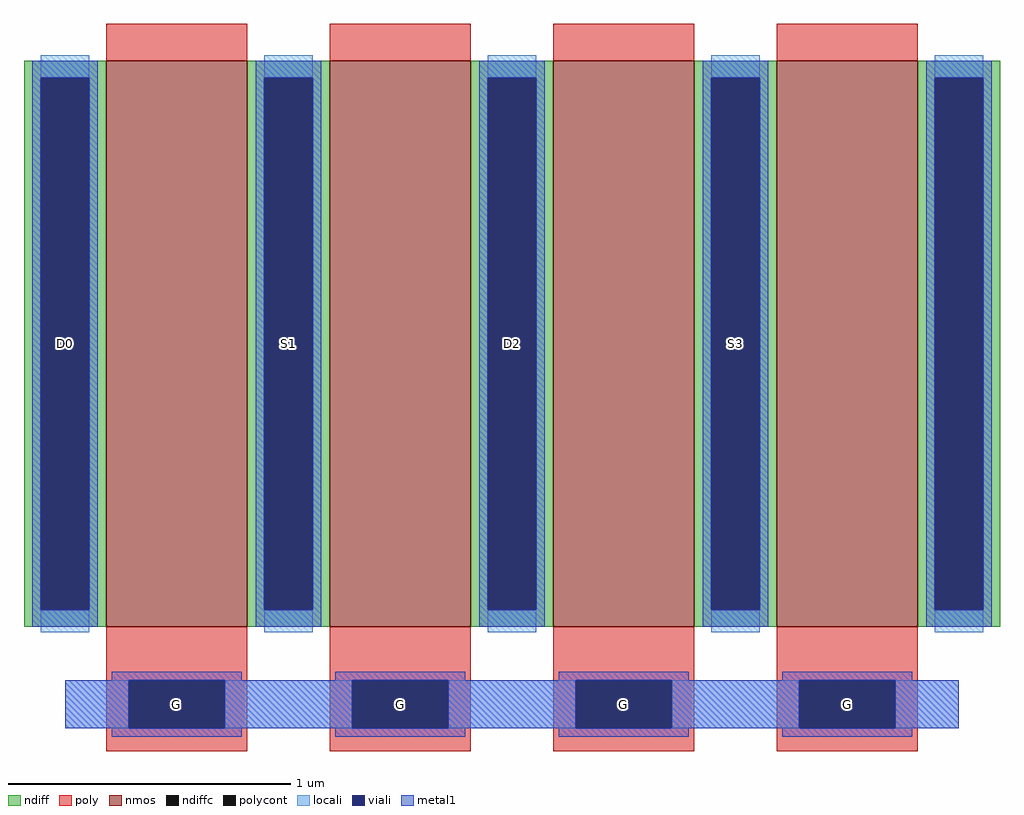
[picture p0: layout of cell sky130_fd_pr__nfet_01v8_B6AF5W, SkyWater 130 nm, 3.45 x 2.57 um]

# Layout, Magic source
magic
tech sky130A
magscale 1 2
<< nmos >>
rect -287 -169 -187 231
rect -129 -169 -29 231
rect 29 -169 129 231
rect 187 -169 287 231
<< ndiff >>
rect -345 219 -287 231
rect -345 -157 -333 219
rect -299 -157 -287 219
rect -345 -169 -287 -157
rect -187 219 -129 231
rect -187 -157 -175 219
rect -141 -157 -129 219
rect -187 -169 -129 -157
rect -29 219 29 231
rect -29 -157 -17 219
rect 17 -157 29 219
rect -29 -169 29 -157
rect 129 219 187 231
rect 129 -157 141 219
rect 175 -157 187 219
rect 129 -169 187 -157
rect 287 219 345 231
rect 287 -157 299 219
rect 333 -157 345 219
rect 287 -169 345 -157
<< ndiffc >>
rect -333 -157 -299 219
rect -175 -157 -141 219
rect -17 -157 17 219
rect 141 -157 175 219
rect 299 -157 333 219
<< poly >>
rect -287 231 -187 257
rect -129 231 -29 257
rect 29 231 129 257
rect 187 231 287 257
rect -287 -207 -187 -169
rect -287 -241 -271 -207
rect -203 -241 -187 -207
rect -287 -257 -187 -241
rect -129 -207 -29 -169
rect -129 -241 -113 -207
rect -45 -241 -29 -207
rect -129 -257 -29 -241
rect 29 -207 129 -169
rect 29 -241 45 -207
rect 113 -241 129 -207
rect 29 -257 129 -241
rect 187 -207 287 -169
rect 187 -241 203 -207
rect 271 -241 287 -207
rect 187 -257 287 -241
<< polycont >>
rect -271 -241 -203 -207
rect -113 -241 -45 -207
rect 45 -241 113 -207
rect 203 -241 271 -207
<< locali >>
rect -333 219 -299 235
rect -333 -173 -299 -157
rect -175 219 -141 235
rect -175 -173 -141 -157
rect -17 219 17 235
rect -17 -173 17 -157
rect 141 219 175 235
rect 141 -173 175 -157
rect 299 219 333 235
rect 299 -173 333 -157
rect -316 -241 -271 -207
rect -203 -241 -113 -207
rect -45 -241 45 -207
rect 113 -241 203 -207
rect 271 -241 316 -207
<< viali >>
rect -333 -157 -299 219
rect -175 -157 -141 219
rect -17 -157 17 219
rect 141 -157 175 219
rect 299 -157 333 219
rect -271 -241 -203 -207
rect -113 -241 -45 -207
rect 45 -241 113 -207
rect 203 -241 271 -207
<< metal1 >>
rect -339 219 -293 231
rect -339 -157 -333 219
rect -299 -157 -293 219
rect -339 -169 -293 -157
rect -181 219 -135 231
rect -181 -157 -175 219
rect -141 -157 -135 219
rect -181 -169 -135 -157
rect -23 219 23 231
rect -23 -157 -17 219
rect 17 -157 23 219
rect -23 -169 23 -157
rect 135 219 181 231
rect 135 -157 141 219
rect 175 -157 181 219
rect 135 -169 181 -157
rect 293 219 339 231
rect 293 -157 299 219
rect 333 -157 339 219
rect 293 -169 339 -157
rect -283 -207 -191 -201
rect -125 -207 -33 -201
rect 33 -207 125 -201
rect 191 -207 283 -201
rect -316 -241 -271 -207
rect -203 -241 -113 -207
rect -45 -241 45 -207
rect 113 -241 203 -207
rect 271 -241 316 -207
rect -283 -247 -191 -241
rect -125 -247 -33 -241
rect 33 -247 125 -241
rect 191 -247 283 -241
<< labels >>
rlabel ndiffc -316 31 -316 31 0 D0
port 1 nsew
rlabel polycont -237 -224 -237 -224 0 G
port 2 nsew
rlabel ndiffc -158 31 -158 31 0 S1
port 3 nsew
rlabel polycont -79 -224 -79 -224 0 G
port 2 nsew
rlabel ndiffc 0 31 0 31 0 D2
port 4 nsew
rlabel polycont 79 -224 79 -224 0 G
port 2 nsew
rlabel ndiffc 158 31 158 31 0 S3
port 5 nsew
rlabel polycont 237 -224 237 -224 0 G
port 2 nsew
<< properties >>
string gencell sky130_fd_pr__nfet_01v8
string library sky130
string parameters w 2 l 0.5 m 1 nf 4 diffcov 100 polycov 100 guard 0 glc 1 grc 1 gtc 1 gbc 1 tbcov 100 rlcov 100 topc 0 botc 1 poverlap 0 doverlap 1 lmin 0.15 wmin 0.42 class mosfet compatible {sky130_fd_pr__nfet_01v8 sky130_fd_pr__nfet_01v8_lvt  sky130_fd_bs_flash__special_sonosfet_star  sky130_fd_pr__nfet_g5v0d10v5 sky130_fd_pr__nfet_05v0_nvt  sky130_fd_pr__nfet_03v3_nvt} full_metal 1 conn_gates 1 viasrc 100 viadrn 100 viagate 100 viagb 0 viagr 0 viagl 0 viagt 0 doports 1
<< end >>
